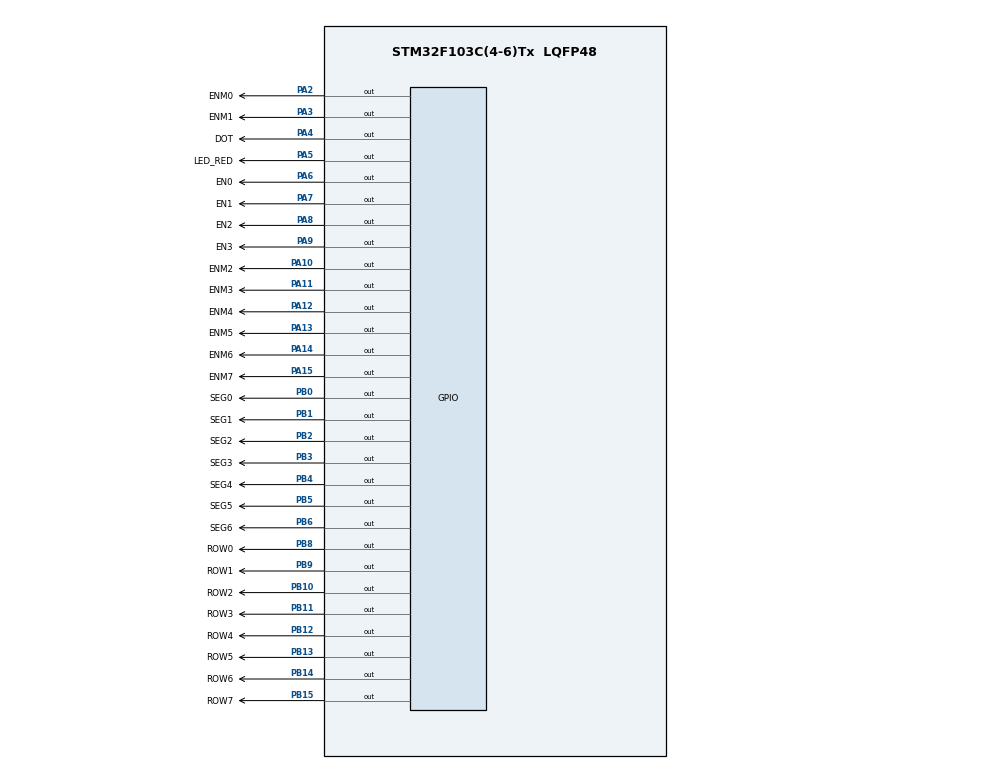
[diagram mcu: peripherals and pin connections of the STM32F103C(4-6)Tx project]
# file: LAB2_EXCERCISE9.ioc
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Mcu.Family=STM32F1
Mcu.Name=STM32F103C(4-6)Tx
Mcu.Package=LQFP48
NVIC.PriorityGroup=NVIC_PRIORITYGROUP_4
NVIC.TIM2_IRQn=true\:0\:0\:false\:false\:true\:true\:true
PA10.GPIO_Label=ENM2
PA10.Signal=GPIO_Output
PA11.GPIO_Label=ENM3
PA11.Signal=GPIO_Output
PA12.GPIO_Label=ENM4
PA12.Signal=GPIO_Output
PA13.GPIO_Label=ENM5
PA13.Signal=GPIO_Output
PA14.GPIO_Label=ENM6
PA14.Signal=GPIO_Output
PA15.GPIO_Label=ENM7
PA15.Signal=GPIO_Output
PA2.GPIO_Label=ENM0
PA2.Signal=GPIO_Output
PA3.GPIO_Label=ENM1
PA3.Signal=GPIO_Output
PA4.GPIO_Label=DOT
PA4.Signal=GPIO_Output
PA5.GPIO_Label=LED_RED
PA5.Signal=GPIO_Output
PA6.GPIO_Label=EN0
PA6.Signal=GPIO_Output
PA7.GPIO_Label=EN1
PA7.Signal=GPIO_Output
PA8.GPIO_Label=EN2
PA8.Signal=GPIO_Output
PA9.GPIO_Label=EN3
PA9.Signal=GPIO_Output
PB0.GPIO_Label=SEG0
PB0.Signal=GPIO_Output
PB1.GPIO_Label=SEG1
PB1.Signal=GPIO_Output
PB10.GPIO_Label=ROW2
PB10.Signal=GPIO_Output
PB11.GPIO_Label=ROW3
PB11.Signal=GPIO_Output
PB12.GPIO_Label=ROW4
PB12.Signal=GPIO_Output
PB13.GPIO_Label=ROW5
PB13.Signal=GPIO_Output
PB14.GPIO_Label=ROW6
PB14.Signal=GPIO_Output
PB15.GPIO_Label=ROW7
PB15.Signal=GPIO_Output
PB2.GPIO_Label=SEG2
PB2.Signal=GPIO_Output
PB3.GPIO_Label=SEG3
PB3.Signal=GPIO_Output
PB4.GPIO_Label=SEG4
PB4.Signal=GPIO_Output
PB5.GPIO_Label=SEG5
PB5.Signal=GPIO_Output
PB6.GPIO_Label=SEG6
PB6.Signal=GPIO_Output
PB8.GPIO_Label=ROW0
PB8.Signal=GPIO_Output
PB9.GPIO_Label=ROW1
PB9.Signal=GPIO_Output
ProjectManager.HeapSize=0x200
ProjectManager.StackSize=0x400
ProjectManager.TargetToolchain=STM32CubeIDE
RCC.APB1Freq_Value=8000000
RCC.APB2Freq_Value=8000000
TIM2.Period=9
TIM2.Prescaler=7999
VP_SYS_VS_ND.Mode=No_Debug
VP_TIM2_VS_ClockSourceINT.Mode=Internal
board=custom

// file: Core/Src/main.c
/* USER CODE BEGIN Header */
/**
  ******************************************************************************
  * @file           : main.c
  * @brief          : Main program body
  ******************************************************************************
  * @attention
  *
  * <h2><center>&copy; Copyright (c) 2025 STMicroelectronics.
  * All rights reserved.</center></h2>
  *
  * This software component is licensed by ST under BSD 3-Clause license,
  * the "License"; You may not use this file except in compliance with the
  * License. You may obtain a copy of the License at:
  *                        opensource.org/licenses/BSD-3-Clause
  *
  ******************************************************************************
  */
/* USER CODE END Header */
#include "main.h"

/* USER CODE BEGIN Includes */
#include "software_timer.h"
/* USER CODE END Includes */

TIM_HandleTypeDef htim2;

void SystemClock_Config(void);
static void MX_GPIO_Init(void);
static void MX_TIM2_Init(void);

/* USER CODE BEGIN 0 */
int led_buffer[4] = {1, 2, 3, 4};
int hour = 23, minute = 59, second = 55;
const int MAX_LED = 4;
const int MAX_LED_MATRIX = 8;
int index_led_matrix = 0;
uint8_t matrix_buffer[8] = {0xFF, 0x03, 0x01, 0xCC, 0xCC, 0x01, 0x03, 0xFF};
uint16_t list_ENM[8] = {ENM0_Pin, ENM1_Pin, ENM2_Pin, ENM3_Pin,
						ENM4_Pin, ENM5_Pin, ENM6_Pin, ENM7_Pin};
void updateLEDMatrix(int index){
	for(int i =0; i < MAX_LED_MATRIX; i++)
		HAL_GPIO_WritePin(GPIOA, list_ENM[i], GPIO_PIN_SET);
	HAL_GPIO_WritePin(GPIOA, list_ENM[index], GPIO_PIN_RESET);
	for(int i =0; i < MAX_LED_MATRIX; ++i){
			HAL_GPIO_WritePin(GPIOB, ROW0_Pin << i, (matrix_buffer[index] >> i) & 0x01);
	}
}

void display7SEG(int num) {
	char segNumber[10] = {0xC0, 0xF9, 0xA4, 0xB0, 0x99, 0x92, 0x82, 0xF8, 0x80, 0x90};
	for (int i = 0; i < 7; ++i) {
		HAL_GPIO_WritePin(GPIOB, GPIO_PIN_0 << i, (segNumber[num] >> i) & 1);
	}
}

void update7SEG(int index){
 for(int i=0; i< MAX_LED; i++)
	 HAL_GPIO_WritePin(GPIOA, EN0_Pin << i, GPIO_PIN_SET);
 HAL_GPIO_WritePin(GPIOA, EN0_Pin << index, GPIO_PIN_RESET);
 display7SEG(led_buffer[index]);
}
void  updateClockBuffer(){
	led_buffer[0] = hour/10;
	led_buffer[1] = hour%10;
	led_buffer[2] = minute/10;
	led_buffer[3] = minute%10;
}

/* USER CODE END 0 */

int main(void)
{

  /* MCU Configuration--------------------------------------------------------*/

  /* Reset of all peripherals, Initializes the Flash interface and the Systick. */
  HAL_Init();

  /* Configure the system clock */
  SystemClock_Config();

  /* Initialize all configured peripherals */
  MX_GPIO_Init();
  MX_TIM2_Init();
  /* USER CODE BEGIN 2 */
  HAL_TIM_Base_Start_IT (&htim2);
  setTimer1(250);
    setTimer2(1000);
    setTimer3(100);
    int index_led = 0;

  	for(int i=0; i< MAX_LED; i++)
  		HAL_GPIO_WritePin(GPIOA, EN0_Pin << i, GPIO_PIN_SET);
  	for(int i =0; i < MAX_LED_MATRIX; i++)
  		HAL_GPIO_WritePin(GPIOA, list_ENM[i], GPIO_PIN_SET);
  	HAL_GPIO_WritePin(GPIOA, LED_RED_Pin, GPIO_PIN_SET);
  	HAL_GPIO_WritePin(GPIOA, DOT_Pin, GPIO_PIN_SET);

  /* USER CODE END 2 */

  /* Infinite loop */
  while (1)
  {
	  updateClockBuffer();
	 	  if(timer2_flag == 1){

	 		  if (second >= 60){
	 			   second = 0;
	 			   minute++;
	 		   }
	 		  if (minute >= 60){
	 			  minute = 0;
	 			  hour++;
	 		  }
	 		  if(hour >= 24) hour = 0;
	 		  updateClockBuffer();
	 		  setTimer2(1000);
	 		  second++;
	 	  }
	 	  if(timer1_flag == 1){
	 		  setTimer1(250);

	 		  HAL_GPIO_TogglePin(GPIOA, LED_RED_Pin);
	 		  update7SEG(index_led++);

	 		  if(index_led == MAX_LED) HAL_GPIO_TogglePin(GPIOA, DOT_Pin);
	 		  index_led = index_led % MAX_LED;
	 	  }

	 	  if(timer3_flag == 1){
	 		  updateLEDMatrix(index_led_matrix++);
	 		  index_led_matrix = index_led_matrix % MAX_LED_MATRIX;
	 		  setTimer3(100);
	 	  }
  }
}

void SystemClock_Config(void)
{
  RCC_OscInitTypeDef RCC_OscInitStruct = {0};
  RCC_ClkInitTypeDef RCC_ClkInitStruct = {0};

  /** Initializes the RCC Oscillators according to the specified parameters
  * in the RCC_OscInitTypeDef structure.
  */
  RCC_OscInitStruct.OscillatorType = RCC_OSCILLATORTYPE_HSI;
  RCC_OscInitStruct.HSIState = RCC_HSI_ON;
  RCC_OscInitStruct.HSICalibrationValue = RCC_HSICALIBRATION_DEFAULT;
  RCC_OscInitStruct.PLL.PLLState = RCC_PLL_NONE;
  if (HAL_RCC_OscConfig(&RCC_OscInitStruct) != HAL_OK)
  {
    Error_Handler();
  }
  /** Initializes the CPU, AHB and APB buses clocks
  */
  RCC_ClkInitStruct.ClockType = RCC_CLOCKTYPE_HCLK|RCC_CLOCKTYPE_SYSCLK
                              |RCC_CLOCKTYPE_PCLK1|RCC_CLOCKTYPE_PCLK2;
  RCC_ClkInitStruct.SYSCLKSource = RCC_SYSCLKSOURCE_HSI;
  RCC_ClkInitStruct.AHBCLKDivider = RCC_SYSCLK_DIV1;
  RCC_ClkInitStruct.APB1CLKDivider = RCC_HCLK_DIV1;
  RCC_ClkInitStruct.APB2CLKDivider = RCC_HCLK_DIV1;

  if (HAL_RCC_ClockConfig(&RCC_ClkInitStruct, FLASH_LATENCY_0) != HAL_OK)
  {
    Error_Handler();
  }
}

static void MX_TIM2_Init(void)
{

  TIM_ClockConfigTypeDef sClockSourceConfig = {0};
  TIM_MasterConfigTypeDef sMasterConfig = {0};

  htim2.Instance = TIM2;
  htim2.Init.Prescaler = 7999;
  htim2.Init.CounterMode = TIM_COUNTERMODE_UP;
  htim2.Init.Period = 9;
  htim2.Init.ClockDivision = TIM_CLOCKDIVISION_DIV1;
  htim2.Init.AutoReloadPreload = TIM_AUTORELOAD_PRELOAD_DISABLE;
  if (HAL_TIM_Base_Init(&htim2) != HAL_OK)
  {
    Error_Handler();
  }
  sClockSourceConfig.ClockSource = TIM_CLOCKSOURCE_INTERNAL;
  if (HAL_TIM_ConfigClockSource(&htim2, &sClockSourceConfig) != HAL_OK)
  {
    Error_Handler();
  }
  sMasterConfig.MasterOutputTrigger = TIM_TRGO_RESET;
  sMasterConfig.MasterSlaveMode = TIM_MASTERSLAVEMODE_DISABLE;
  if (HAL_TIMEx_MasterConfigSynchronization(&htim2, &sMasterConfig) != HAL_OK)
  {
    Error_Handler();
  }

}

static void MX_GPIO_Init(void)
{
  GPIO_InitTypeDef GPIO_InitStruct = {0};

  /* GPIO Ports Clock Enable */
  __HAL_RCC_GPIOA_CLK_ENABLE();
  __HAL_RCC_GPIOB_CLK_ENABLE();

  /*Configure GPIO pin Output Level */
  HAL_GPIO_WritePin(GPIOA, ENM0_Pin|ENM1_Pin|DOT_Pin|LED_RED_Pin
                          |EN0_Pin|EN1_Pin|EN2_Pin|EN3_Pin
                          |ENM2_Pin|ENM3_Pin|ENM4_Pin|ENM5_Pin
                          |ENM6_Pin|ENM7_Pin, GPIO_PIN_RESET);

  /*Configure GPIO pin Output Level */
  HAL_GPIO_WritePin(GPIOB, SEG0_Pin|SEG1_Pin|SEG2_Pin|ROW2_Pin
                          |ROW3_Pin|ROW4_Pin|ROW5_Pin|ROW6_Pin
                          |ROW7_Pin|SEG3_Pin|SEG4_Pin|SEG5_Pin
                          |SEG6_Pin|ROW0_Pin|ROW1_Pin, GPIO_PIN_RESET);

  /*Configure GPIO pins : ENM0_Pin ENM1_Pin DOT_Pin LED_RED_Pin
                           EN0_Pin EN1_Pin EN2_Pin EN3_Pin
                           ENM2_Pin ENM3_Pin ENM4_Pin ENM5_Pin
                           ENM6_Pin ENM7_Pin */
  GPIO_InitStruct.Pin = ENM0_Pin|ENM1_Pin|DOT_Pin|LED_RED_Pin
                          |EN0_Pin|EN1_Pin|EN2_Pin|EN3_Pin
                          |ENM2_Pin|ENM3_Pin|ENM4_Pin|ENM5_Pin
                          |ENM6_Pin|ENM7_Pin;
  GPIO_InitStruct.Mode = GPIO_MODE_OUTPUT_PP;
  GPIO_InitStruct.Pull = GPIO_NOPULL;
  GPIO_InitStruct.Speed = GPIO_SPEED_FREQ_LOW;
  HAL_GPIO_Init(GPIOA, &GPIO_InitStruct);

  /*Configure GPIO pins : SEG0_Pin SEG1_Pin SEG2_Pin ROW2_Pin
                           ROW3_Pin ROW4_Pin ROW5_Pin ROW6_Pin
                           ROW7_Pin SEG3_Pin SEG4_Pin SEG5_Pin
                           SEG6_Pin ROW0_Pin ROW1_Pin */
  GPIO_InitStruct.Pin = SEG0_Pin|SEG1_Pin|SEG2_Pin|ROW2_Pin
                          |ROW3_Pin|ROW4_Pin|ROW5_Pin|ROW6_Pin
                          |ROW7_Pin|SEG3_Pin|SEG4_Pin|SEG5_Pin
                          |SEG6_Pin|ROW0_Pin|ROW1_Pin;
  GPIO_InitStruct.Mode = GPIO_MODE_OUTPUT_PP;
  GPIO_InitStruct.Pull = GPIO_NOPULL;
  GPIO_InitStruct.Speed = GPIO_SPEED_FREQ_LOW;
  HAL_GPIO_Init(GPIOB, &GPIO_InitStruct);

}

/* USER CODE BEGIN 4 */
//const unsigned int Default = 100;
//int counter = Default;
void HAL_TIM_PeriodElapsedCallback ( TIM_HandleTypeDef * htim )
{
	timerRun();
}
/* USER CODE END 4 */

void Error_Handler(void)
{
  __disable_irq();
  while (1)
  {
  }
}

/************************ (C) COPYRIGHT STMicroelectronics *****END OF FILE****/
